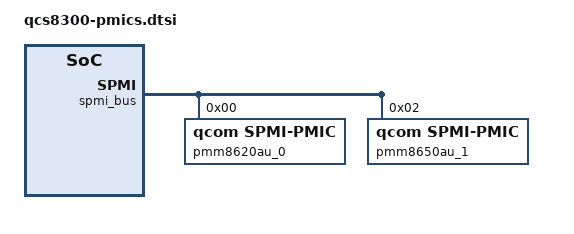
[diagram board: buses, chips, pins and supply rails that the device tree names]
// SPDX-License-Identifier: BSD-3-Clause
/*
 * Copyright (c) 2024 Qualcomm Innovation Center, Inc. All rights reserved.
 */

#include <dt-bindings/input/input.h>
#include <dt-bindings/spmi/spmi.h>

&spmi_bus {
	pmm8620au_0: pmic@0 {
		compatible = "qcom,spmi-pmic";
		reg = <0x0 SPMI_USID>;
		#address-cells = <1>;
		#size-cells = <0>;
	};

	pmm8650au_1: pmic@2 {
		compatible = "qcom,spmi-pmic";
		reg = <0x2 SPMI_USID>;
		#address-cells = <1>;
		#size-cells = <0>;
	};
};
